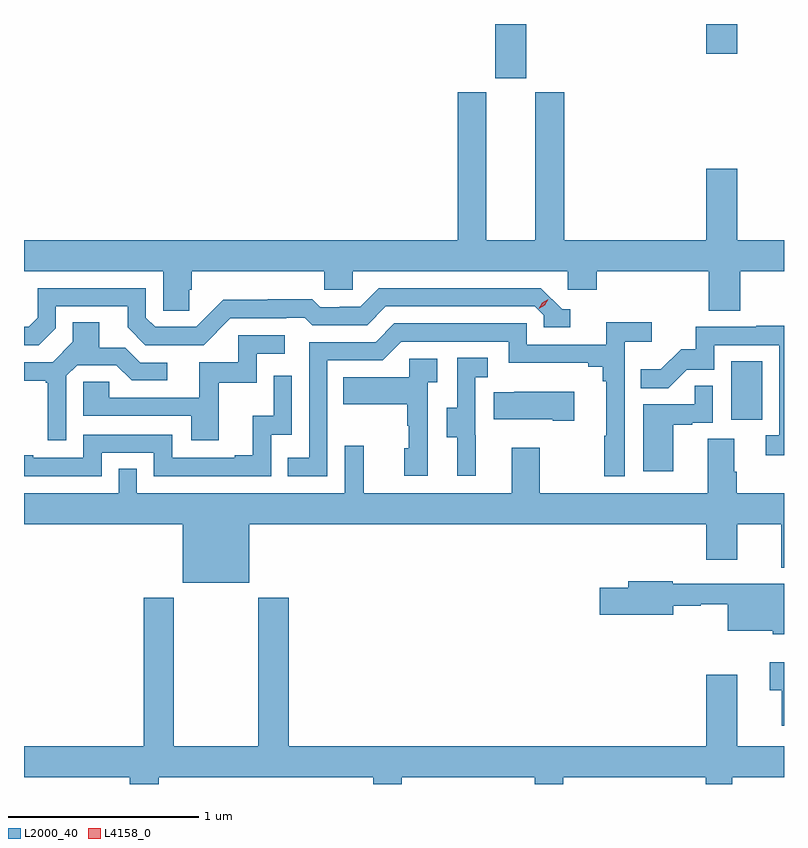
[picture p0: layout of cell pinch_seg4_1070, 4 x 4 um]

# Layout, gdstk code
import gdstk
lib = gdstk.Library(unit=1e-6, precision=1e-09)
def R(c, l, rs):  # rectangles x0, y0, x1, y1
    for r in rs: c.add(gdstk.rectangle(r[:2], r[2:], *l))
def P(c, l, *ps):  # polygons
    for p in ps: c.add(gdstk.Polygon(p, *l))
L2000_40 = (2000, 40)
L4158_0 = (4158, 0)

pinch_seg4_1070 = lib.new_cell('pinch_seg4_1070')
R(pinch_seg4_1070, L2000_40, [(836.468,753.414,836.632,753.721), (835.226,755.211,835.39,755.497), (836.336,755.34,836.5,755.497)])
P(pinch_seg4_1070, L2000_40, [(836.336,754.36),(835.589,754.36),(835.589,755.139),(835.436,755.139),(835.436,754.36),(835.18,754.36),(835.18,755.139),(835.028,755.139),(835.028,754.36),(832.746,754.36),(832.746,754.196),(833.478,754.196),(833.478,753.988),(833.615,753.988),(833.615,754.098),(833.63,754.098),(833.63,754.196),(834.327,754.196),(834.327,754.098),(834.477,754.098),(834.477,754.196),(835.608,754.196),(835.608,754.098),(835.76,754.098),(835.76,754.196),(836.351,754.196),(836.351,753.988),(836.516,753.988),(836.516,754.196),(836.746,754.196),(836.746,754.36),(836.5,754.36),(836.5,754.735),(836.336,754.735)],
  [(832.914,753.897),(832.914,754.011),(833.291,754.011),(833.291,753.901),(833.385,753.807),(833.691,753.807),(833.832,753.948),(834.125,753.948),(834.125,753.951),(834.224,753.951),(834.263,753.912),(834.552,753.912),(834.651,754.011),(835.434,754.011),(835.482,753.963),(835.482,753.9),(835.621,753.9),(835.621,753.996),(835.578,753.996),(835.467,754.107),(834.614,754.107),(834.515,754.008),(834.408,754.008),(834.408,754.005),(834.305,754.005),(834.263,754.048),(834.03,754.048),(834.03,754.045),(833.794,754.045),(833.652,753.903),(833.436,753.903),(833.388,753.951),(833.388,754.107),(832.818,754.107),(832.818,753.951),(832.77,753.903),(832.746,753.903),(832.746,753.807),(832.824,753.807)],
  [(834.342,753.726),(834.633,753.726),(834.732,753.825),(835.296,753.825),(835.296,753.713),(835.715,753.713),(835.715,753.694),(835.792,753.694),(835.792,753.617),(835.811,753.617),(835.811,753.329),(835.8,753.329),(835.8,753.117),(835.908,753.117),(835.908,753.824),(836.05,753.824),(836.05,753.926),(835.811,753.926),(835.811,753.81),(835.392,753.81),(835.392,753.921),(834.695,753.921),(834.596,753.822),(834.246,753.822),(834.246,753.213),(834.133,753.213),(834.133,753.117),(834.342,753.117)],
  [(832.968,753.645),(833.025,753.702),(833.231,753.702),(833.312,753.621),(833.5,753.621),(833.5,753.714),(833.358,753.714),(833.278,753.794),(833.143,753.794),(833.143,753.926),(833.003,753.926),(833.003,753.824),(832.896,753.717),(832.746,753.717),(832.746,753.62),(832.86,753.62),(832.86,753.609),(832.871,753.609),(832.871,753.306),(832.968,753.306)],
  [(836.746,753.908),(836.599,753.908),(836.599,753.903),(836.281,753.903),(836.281,753.786),(836.204,753.786),(836.097,753.679),(835.993,753.679),(835.993,753.58),(836.137,753.58),(836.235,753.678),(836.379,753.678),(836.379,753.807),(836.721,753.807),(836.721,753.333),(836.649,753.333),(836.649,753.228),(836.746,753.228)],
  [(833.771,753.609),(833.97,753.609),(833.97,753.762),(834.118,753.762),(834.118,753.858),(833.874,753.858),(833.874,753.717),(833.669,753.717),(833.669,753.531),(833.195,753.531),(833.195,753.615),(833.058,753.615),(833.058,753.435),(833.627,753.435),(833.627,753.306),(833.771,753.306)],
  [(835.124,753.333),(835.122,753.333),(835.122,753.637),(835.186,753.637),(835.186,753.74),(835.026,753.74),(835.026,753.477),(834.971,753.477),(834.971,753.322),(835.025,753.322),(835.025,753.12),(835.124,753.12)],
  [(834.87,753.611),(834.922,753.611),(834.922,753.735),(834.774,753.735),(834.774,753.637),(834.427,753.637),(834.427,753.497),(834.762,753.497),(834.762,753.383),(834.772,753.383),(834.772,753.264),(834.746,753.264),(834.746,753.12),(834.87,753.12)],
  [(833.154,753.24),(833.43,753.24),(833.43,753.117),(834.048,753.117),(834.048,753.336),(834.156,753.336),(834.156,753.646),(834.06,753.646),(834.06,753.434),(833.951,753.434),(833.951,753.226),(833.855,753.226),(833.855,753.213),(833.526,753.213),(833.526,753.336),(833.058,753.336),(833.058,753.213),(832.795,753.213),(832.795,753.226),(832.746,753.226),(832.746,753.117),(833.154,753.117)],
  [(836.164,753.387),(836.264,753.387),(836.264,753.399),(836.37,753.399),(836.37,753.593),(836.275,753.593),(836.275,753.495),(836.006,753.495),(836.006,753.144),(836.164,753.144)],
  [(835.642,753.562),(835.327,753.562),(835.327,753.559),(835.219,753.559),(835.219,753.416),(835.529,753.416),(835.529,753.409),(835.642,753.409)],
  [(836.5,752.864),(836.731,752.864),(836.731,752.636),(836.746,752.636),(836.746,753.028),(836.498,753.028),(836.498,753.14),(836.485,753.14),(836.485,753.314),(836.345,753.314),(836.345,753.028),(835.461,753.028),(835.461,753.268),(835.313,753.268),(835.313,753.028),(834.533,753.028),(834.533,753.277),(834.435,753.277),(834.435,753.028),(833.34,753.028),(833.34,753.155),(833.244,753.155),(833.244,753.028),(832.746,753.028),(832.746,752.864),(833.582,752.864),(833.582,752.555),(833.932,752.555),(833.932,752.864),(836.336,752.864),(836.336,752.676),(836.5,752.676)],
  [(836.746,752.551),(836.554,752.551),(836.554,752.55),(836.16,752.55),(836.16,752.563),(835.925,752.563),(835.925,752.529),(835.776,752.529),(835.776,752.387),(836.164,752.387),(836.164,752.434),(836.307,752.434),(836.307,752.442),(836.45,752.442),(836.45,752.303),(836.688,752.303),(836.688,752.285),(836.746,752.285)],
  [(834.585,751.497),(834.735,751.497),(834.735,751.532),(835.433,751.532),(835.433,751.497),(835.584,751.497),(835.584,751.532),(836.334,751.532),(836.334,751.497),(836.473,751.497),(836.473,751.532),(836.746,751.532),(836.746,751.696),(836.5,751.696),(836.5,752.071),(836.336,752.071),(836.336,751.696),(834.14,751.696),(834.14,752.476),(833.98,752.476),(833.98,751.696),(833.535,751.696),(833.535,752.476),(833.375,752.476),(833.375,751.696),(832.746,751.696),(832.746,751.532),(833.303,751.532),(833.303,751.497),(833.454,751.497),(833.454,751.532),(834.585,751.532)],
  [(836.746,752.137),(836.672,752.137),(836.672,751.99),(836.734,751.99),(836.734,751.803),(836.746,751.803)])
P(pinch_seg4_1070, L4158_0, [(835.456,753.999),(835.456,753.999),(835.473,754.031),(835.505,754.049),(835.505,754.049),(835.505,754.049),(835.488,754.017),(835.456,753.999)])

lib.write_gds('pinch_seg4_1070.gds')
